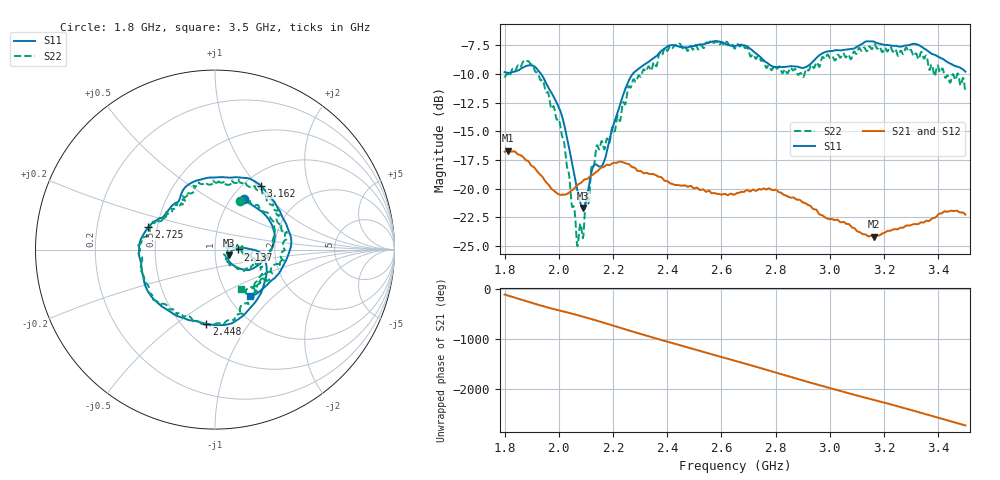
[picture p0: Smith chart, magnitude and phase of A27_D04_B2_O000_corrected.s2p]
! Created with skrf 1.9.0 (http://scikit-rf.org).
# Hz S RI R 50.0
!freq ReS11 ImS11 ReS21 ImS21 ReS12 ImS12 ReS22 ImS22
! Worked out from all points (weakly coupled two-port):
!   1601 points, 1.8 GHz to 3.5 GHz, reference 50 ohm
!   highest |S21| = -16.69 dB at 1.812 GHz (marker M1); lowest = -24.2 dB at 3.162 GHz (marker M2)
!   lowest |S11| = -21.7 dB at 2.09 GHz (marker M3), VSWR 1.18, Z = 58.1 - j3.59 ohm
!   |S11| at or under -10 dB: 1.935 GHz to 2.272 GHz (337.1 MHz wide, 16 % of centre)
!   |S22| runs from -25.0 to -7.1 dB; largest |S21 - S12| = 0.0022
!   S11 on the Smith chart (normalised r, x): 1.8 GHz: 1.14, +0.71; 2.137 GHz: 1.29, +0.00; 2.448 GHz: 0.65, -0.65; 2.725 GHz: 0.45, +0.13; 3.162 GHz: 1.19, +1.05; 3.5 GHz: 1.25, -0.72
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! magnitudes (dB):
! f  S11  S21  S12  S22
! 1.8 GHz  -9.8  -16.8  -16.8  -10.3
! 1.812 GHz  -9.9  -16.7  -16.7  -10.0
! 1.885 GHz  -9.3  -17.6  -17.6  -8.8
! 1.941 GHz  -10.2  -19.0  -19.0  -10.5
! 2.01 GHz  -13.6  -20.5  -20.5  -15.3
! 2.066 GHz  -19.8  -19.8  -19.8  -24.5
! 2.084 GHz  -21.5  -19.5  -19.4  -23.4
! 2.09 GHz  -21.7  -19.3  -19.3  -24.2
! 2.137 GHz  -17.9  -18.6  -18.6  -16.7
! 2.167 GHz  -17.7  -18.1  -18.1  -16.5
! 2.264 GHz  -10.3  -18.0  -18.0  -11.2
! 2.367 GHz  -8.3  -19.0  -18.9  -8.5
! 2.448 GHz  -7.6  -19.7  -19.7  -7.4
! 2.65 GHz  -7.5  -20.5  -20.5  -7.8
! 2.725 GHz  -8.2  -20.2  -20.2  -8.6
! 2.796 GHz  -9.4  -20.1  -20.1  -9.2
! 2.899 GHz  -9.5  -21.2  -21.2  -10.2
! 2.934 GHz  -9.0  -21.7  -21.6  -9.2
! 3.162 GHz  -7.2  -24.2  -24.2  -7.5
! 3.217 GHz  -7.5  -23.7  -23.7  -7.8
! 3.342 GHz  -7.7  -23.0  -22.9  -8.3
! 3.5 GHz  -9.8  -22.3  -22.2  -11.6
